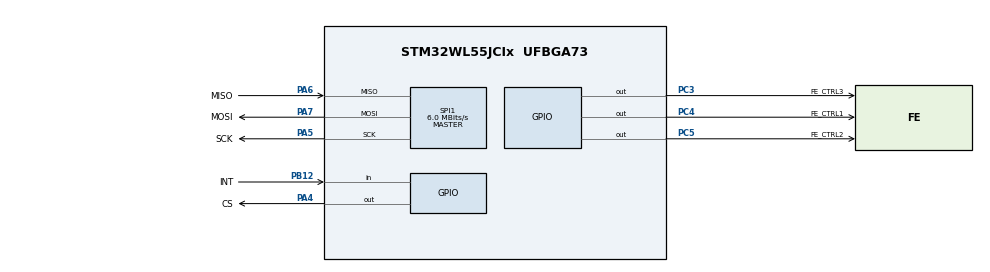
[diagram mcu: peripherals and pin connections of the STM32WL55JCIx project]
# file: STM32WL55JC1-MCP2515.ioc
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CortexM0Plus.IPs=RCC,SYS_M0PLUS\:I,DMA,NVIC2\:I,IPCC,ADV_TRACE,GPIO,GTZC_S\:I,LORAWAN,MISC,SEQUENCER_M0PLUS\:I,SIGFOX,SUBGHZ\:I,SUBGHZ_PHY,TIMER,TINY_LPM,NUCLEO-WL55JC2
CortexM4.IPs=FATFS\:I,RCC\:I,SYS\:I,DMA\:I,NVIC1\:I,USART2\:I,DEBUG\:I,IPCC\:I,ADV_TRACE\:I,FREERTOS\:I,GPIO\:I,GTZC_NS\:I,LORAWAN\:I,MISC\:I,SEQUENCER_M4\:I,SIGFOX\:I,SUBGHZ_PHY\:I,TIMER\:I,TINY_LPM\:I,NUCLEO-WL55JC2\:I,SPI1\:I
Mcu.Family=STM32WL
Mcu.Name=STM32WL55JCIx
Mcu.Package=UFBGA73
NUCLEO-WL55JC2.BUTTON=1
NUCLEO-WL55JC2.BUTTON2=1
NUCLEO-WL55JC2.BUTTON3=1
NUCLEO-WL55JC2.Bsp_Common_DEMO=true
NUCLEO-WL55JC2.LD1=true
NUCLEO-WL55JC2.LD2=true
NUCLEO-WL55JC2.LD3=true
NUCLEO-WL55JC2.VCP=true
NVIC1.EXTI0_IRQn=true\:0\:0\:false\:false\:true\:false\:true\:true
NVIC1.EXTI1_IRQn=true\:0\:0\:false\:false\:true\:false\:true\:true
NVIC1.PriorityGroup=NVIC_PRIORITYGROUP_4
NVIC1.SPI1_IRQn=true\:0\:0\:false\:false\:true\:true\:true\:true
OSC_IN.Mode=HSE-External-Oscillator
OSC_IN.Signal=RCC_OSC_IN
OSC_OUT.Mode=HSE-External-Oscillator
OSC_OUT.Signal=RCC_OSC_OUT
PA4.GPIO_Label=CS
PA4.GPIO_Speed=GPIO_SPEED_FREQ_HIGH
PA4.PinState=GPIO_PIN_SET
PA4.Signal=GPIO_Output
PA5.GPIO_Label=SCK
PA5.GPIO_PuPd=GPIO_NOPULL
PA5.GPIO_Speed=GPIO_SPEED_FREQ_MEDIUM
PA5.Mode=Full_Duplex_Master
PA5.Signal=SPI1_SCK
PA6.GPIO_Label=MISO
PA6.GPIO_Speed=GPIO_SPEED_FREQ_MEDIUM
PA6.Mode=Full_Duplex_Master
PA6.Signal=SPI1_MISO
PA7.GPIO_Label=MOSI
PA7.GPIO_Speed=GPIO_SPEED_FREQ_MEDIUM
PA7.Mode=Full_Duplex_Master
PA7.Signal=SPI1_MOSI
PB12.GPIO_Label=INT
PB12.GPIO_PuPd=GPIO_PULLDOWN
PB12.Signal=GPIO_Input
PC14-OSC32_IN.GPIO_Label=RCC_OSC32_IN
PC14-OSC32_IN.Signal=RCC_OSC32_IN
PC15-OSC32_OUT.GPIO_Label=RCC_OSC32_OUT
PC15-OSC32_OUT.Signal=RCC_OSC32_OUT
PC3.GPIO_Label=FE_CTRL3
PC3.GPIO_Speed=GPIO_SPEED_FREQ_VERY_HIGH
PC3.Signal=GPIO_Output
PC4.GPIO_Label=FE_CTRL1
PC4.GPIO_Speed=GPIO_SPEED_FREQ_VERY_HIGH
PC4.Signal=GPIO_Output
PC5.GPIO_Label=FE_CTRL2
PC5.GPIO_Speed=GPIO_SPEED_FREQ_VERY_HIGH
PC5.Signal=GPIO_Output
ProjectManager.HeapSize=M4-0x200,M0P-0x200
ProjectManager.StackSize=M4-0x400,M0P-0x400
ProjectManager.TargetToolchain=STM32CubeIDE
RCC.AHBFreq_Value=48000000
RCC.APB1CLKDivider=RCC_HCLK_DIV2
RCC.APB1Freq_Value=24000000
RCC.APB1TimFreq_Value=48000000
RCC.APB2Freq_Value=48000000
RCC.APB2TimFreq_Value=48000000
RCC.APB3Freq_Value=48000000
RCC.CortexFreq_Value=48000000
RCC.HCLKFreq_Value=48000000
RCC.HSE_VALUE=32000000
RCC.HSI_VALUE=16000000
RCC.LSE_VALUE=32768
RCC.MSIClockRange=RCC_MSIRANGE_11
RCC.PLLR=RCC_PLLR_DIV8
RCC.PLLSourceVirtual=RCC_PLLSOURCE_HSI
RCC.SYSCLKFreq_VALUE=48000000
RCC.VCOOutputFreq_Value=128000000
SPI1.BaudRatePrescaler=SPI_BAUDRATEPRESCALER_8
SPI1.CLKPolarity=SPI_POLARITY_LOW
SPI1.CalculateBaudRate=6.0 MBits/s
SPI1.DataSize=SPI_DATASIZE_8BIT
SPI1.Direction=SPI_DIRECTION_2LINES
SPI1.Mode=SPI_MODE_MASTER
SPI1.VirtualType=VM_MASTER
SYS.userName=SYS_M4
SYS_M0PLUS.userName=SYS_M0+
VP_NUCLEO-WL55JC2_VS_BSP_COMMON.Mode=COMMON
VP_SYS_M0PLUS_VS_Systick.Mode=SysTick
board=NUCLEO-WL55JC2

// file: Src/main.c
/* USER CODE BEGIN Header */
/**
 ******************************************************************************
 * @file           : main.c
 * @brief          : Main program body
 ******************************************************************************
 * @attention
 *
 * Copyright (c) 2024 STMicroelectronics.
 * All rights reserved.
 *
 * This software is licensed under terms that can be found in the LICENSE file
 * in the root directory of this software component.
 * If no LICENSE file comes with this software, it is provided AS-IS.
 *
 ******************************************************************************
 */
/* USER CODE END Header */
#include "main.h"

/* USER CODE BEGIN Includes */
#include "CAN_SPI.h"
#include "MCP2515.h"

#include <stdio.h>
#include <string.h>

#include "stm32wlxx_hal.h"
/* USER CODE END Includes */

/* USER CODE BEGIN PTD */
#define TIMEOUT_MS 1000  // Timeout untuk komunikasi SPI (dalam ms)

static uint32_t lastStateChangeTime = 0;
static const uint32_t debounceDelay = 200;

static uint32_t lastWakeTime = 0;

// Declare your global or external variables appropriately
static uint32_t prevTX = 0;  // Variable to store the last transmit time
static uint32_t invlTX = 1000; // Example: 1 second interval
#define MAX_DATA_SETS 4
/* USER CODE END PTD */

/* USER CODE BEGIN PD */

/* Define Car states */
typedef enum {
	CAR_OFF, CAR_ACC_ON, CAR_ENGINE_ON
} CarState;

static CarState currentState = CAR_OFF;

/* Define PID codes */
#define PID_ENGINE_LOAD 0x04
#define PID_ENGINE_COOLANT_TEMPERATURE 0x05
#define PID_SHORT_TERM_FUEL_TRIM 0x06
#define PID_MANIFOLD_ABSOLUTE_PRESSURE 0x0B
#define PID_ENGINE_SPEED 0x0C
#define PID_VEHICLE_SPEED 0x0D
#define PID_INTAKE_AIR_TEMPERATURE 0x0F
#define PID_THROTTLE_POSITION 0x11
#define PID_O2_SENSOR_2 0x15
#define PID_RUN_TIME 0x1F
#define PID_CONTROL_MODULE_VOLTAGE 0x42

#define RES_ID 0x98DA01F1
#define REQ_ID 0x98DB33F1
/* Global variables for PID */
static int manifold_absolute_pressure;
static int engine_speed;
static int vehicle_speed;
static int intake_air_temperature;
static int control_module_voltage;

/* OBD2 data sets request */
static const uint8_t dataSets[][8] = {
		{ 0x02, 0x01, 0x42, 0xAA, 0xAA, 0xAA, 0xAA, 0xAA },  // Control Module Voltage
		{ 0x02, 0x01, 0x0B, 0xAA, 0xAA, 0xAA, 0xAA, 0xAA }, // Manifold Absolute Pressure
		{ 0x02, 0x01, 0x0C, 0xAA, 0xAA, 0xAA, 0xAA, 0xAA },  // Engine Speed
		{ 0x02, 0x01, 0x0D, 0xAA, 0xAA, 0xAA, 0xAA, 0xAA },  // Vehicle Speed
		{ 0x02, 0x01, 0x0F, 0xAA, 0xAA, 0xAA, 0xAA, 0xAA }, // Intake Air Temperature
//		{ 0x02, 0x01, 0x42, 0x00, 0x12, 0xAA, 0xAA, 0xAA },  // Control Module Voltage
		};

static bool responseReceived[MAX_DATA_SETS] = { false };
/* USER CODE END PD */

COM_InitTypeDef BspCOMInit;
static uint32_t delay = 250;
SPI_HandleTypeDef hspi1;

uCAN_MSG txMessage;
uCAN_MSG rxMessage;

void SystemClock_Config(void);
static void MX_GPIO_Init(void);
static void MX_SPI1_Init(void);

void updateCarState(void);
void handleCarState(void);
void sendOBDRequests(void);
void decodePID(uint8_t pid, uint8_t a, uint8_t b, uint8_t c, uint8_t d,
		uint8_t e);
void enterSleepMode(void);
void logPID(void);

int main(void) {

	/* MCU Configuration--------------------------------------------------------*/

	/* Reset of all peripherals, Initializes the Flash interface and the Systick. */
	HAL_Init();

	/* Configure the system clock */
	SystemClock_Config();

	/* Initialize all configured peripherals */
	MX_GPIO_Init();
	MX_SPI1_Init();

	/* Initialize leds */
	BSP_LED_Init(LED_BLUE);
	BSP_LED_Init(LED_GREEN);
	BSP_LED_Init(LED_RED);

	/* Initialize USER push-button, will be used to trigger an interrupt each time it's pressed.*/
	BSP_PB_Init(BUTTON_SW1, BUTTON_MODE_EXTI);
	BSP_PB_Init(BUTTON_SW2, BUTTON_MODE_EXTI);
	BSP_PB_Init(BUTTON_SW3, BUTTON_MODE_EXTI);

	/* Initialize COM1 port (115200, 8 bits (7-bit data + 1 stop bit), no parity */
	BspCOMInit.BaudRate = 115200;
	BspCOMInit.WordLength = COM_WORDLENGTH_8B;
	BspCOMInit.StopBits = COM_STOPBITS_1;
	BspCOMInit.Parity = COM_PARITY_NONE;
	BspCOMInit.HwFlowCtl = COM_HWCONTROL_NONE;
	if (BSP_COM_Init(COM1, &BspCOMInit) != BSP_ERROR_NONE) {
		Error_Handler();
	}

	/* USER CODE BEGIN BSP */

	/* -- Sample board code to send message over COM1 port ---- */
	printf("\n\r");
	printf("STM32 x MCP2515 : OBD2 Scanner\n\r");

	/* -- Sample board code to switch on leds ---- */
	BSP_LED_On(LED_BLUE);
	BSP_LED_On(LED_GREEN);
	BSP_LED_On(LED_RED);

	/* USER CODE END BSP */

	/* Boot CPU2 */
	HAL_PWREx_ReleaseCore(PWR_CORE_CPU2);

	/* MCP2515 & SPI Initialization */
	int ret;
	ret = CANSPI_Initialize();
	if (ret < 0) {
		printf("Initialize CAN SPI Failed... Code: (%d)\n\r", ret);
		Error_Handler();
	} else {
		printf("MCP2515 initialized successfully!\n\r");
	}

	/* Set MCP2515 to Normal mode */
	if (!MCP2515_SetNormalMode()) {
		printf("Failed to set Normal mode!\n\r");
	} else {
		printf("MCP2515 set to Normal mode.\n\r");
	}

//	/* Set MCP2515 to Loopback mode */
//	if (!MCP2515_SetLoopbackMode()) {
//		printf("Failed to set Loopback mode!\n\r");
//	} else {
//		printf("MCP2515 set to Loopback mode.\n\r");
//	}

	/* Set initial LED states to Off */
	BSP_LED_Off(LED_BLUE);  // Will use for CAN activity
	BSP_LED_Off(LED_GREEN); // Will use for successful communication
	BSP_LED_On(LED_RED);    // Will use for errors/no communication

	/* Print CSV header for logging */
	printf("#,timestamp,carstate,MAP,RPM,VSS,IAT,CMV\n\r");

	/* Infinite loop */
	/* USER CODE BEGIN WHILE */
	while (1) {

		  // Update car state
		  updateCarState();

		  // Handle current state
		  handleCarState();

//		// Transmit the message sequentially
//		for (int i = 0; i < sizeof(dataSets) / sizeof(dataSets[0]); i++) {
//			// Create CAN message for the current dataset
//			txMessage.frame.id = REQ_ID;
//			txMessage.frame.dlc = 8;
//			memcpy(&txMessage.frame.data0, dataSets[i], 8);
//
//			// Send the message
//			if (CANSPI_Transmit(&txMessage)) {
//				printf("\n\rSent OBD request for PID: 0x%02X\n\r",
//						dataSets[i][2]);
//
//				// Wait for a response
//				uint32_t startTime = HAL_GetTick();
//
//				while (HAL_GetTick() - startTime < TIMEOUT_MS) { // Timeout set to 1000 ms
//					// Check if a message is received
//					if (CANSPI_Receive(&rxMessage)) {
//
//						decodePID(rxMessage.frame.data2, rxMessage.frame.data3,
//								rxMessage.frame.data4, rxMessage.frame.data5,
//								rxMessage.frame.data6, rxMessage.frame.data7);
//
////						if (rxMessage.frame.id == REQ_ID) {
////							printf(
////									"Received Message: Data = {0x%02X, 0x%02X, 0x%02X, 0x%02X, 0x%02X, 0x%02X, 0x%02X, 0x%02X}\n\r",
////									rxMessage.frame.data0,
////									rxMessage.frame.data1,
////									rxMessage.frame.data2,
////									rxMessage.frame.data3,
////									rxMessage.frame.data4,
////									rxMessage.frame.data5,
////									rxMessage.frame.data6,
////									rxMessage.frame.data7);
////							responseReceived = true;
////							break;  // Exit loop once response is received
////						}
//					}
//				}
//			} else {
//				printf("Failed to send request for PID: 0x%02X\n\r",
//						dataSets[i][2]);
//			}
//
//			// Small delay between requests
//			HAL_Delay(50);
//		}

		/* -- Sample board code for User push-button in interrupt mode ---- */
//    BSP_LED_Toggle(LED_BLUE);
//    HAL_Delay(delay);
//
//    BSP_LED_Toggle(LED_GREEN);
//    HAL_Delay(delay);
//
//    BSP_LED_Toggle(LED_RED);
//    HAL_Delay(delay);
//
	}

	/* USER CODE END WHILE */
	/* USER CODE END 3 */
}

// Implementation of car state update
void updateCarState(void) {
	static bool firstRun = true;
	uint32_t currentMillis = HAL_GetTick();
	CarState newState = currentState;

	if (firstRun) {
		sendOBDRequests();  // Call function to send OBD requests, fist PID: 0x42 (Control Module Voltage)
		firstRun = false;
	}

	// Update the new state based on control module voltage
	if (control_module_voltage > 13) {  // 13.5 - 14.7
		newState = CAR_ENGINE_ON;
	} else if (control_module_voltage > 12) {  // 12.0 - 12.6
		newState = CAR_ACC_ON;
	} else {
		newState = CAR_OFF;
	}

	// Debouncing
	if (newState != currentState
			&& (currentMillis - lastStateChangeTime > debounceDelay)) {
		currentState = newState;
		lastStateChangeTime = currentMillis;

		printf("Car state changed to: %d\n", currentState);

		// Check if the car state = off, enter sleep mode
		if (currentState == CAR_OFF) {
			enterSleepMode();
		}
	}
}

// Implementation of Handle Car State
void handleCarState(void) {
    uint32_t currentTime = HAL_GetTick();

    switch (currentState) {
    case CAR_OFF:
        if (currentTime - lastWakeTime > 10000) { // 10 seconds
            printf("CAR OFF\n\r");
            enterSleepMode();
        }
        break;

    case CAR_ACC_ON:
    case CAR_ENGINE_ON:
        if (currentTime - prevTX >= invlTX) {
            printf("CAR ON\n\r");
            sendOBDRequests();
            prevTX = currentTime;
        }
        break;
    }

    if (currentTime < lastWakeTime) {
        lastWakeTime = currentTime;
    }
}

// Implementation of OBD requests sender
void sendOBDRequests(void) {
	bool receivedResponse = false;

	for (int i = 0; i < sizeof(dataSets) / sizeof(dataSets[0]); i++) {
		// Create CAN message (ID, DLC, Data Message)
		uCAN_MSG txMessage;
		txMessage.frame.id = REQ_ID;
		txMessage.frame.dlc = 8;
		memcpy(&txMessage.frame.data0, dataSets[i], 8);

		// Send the CAN message
		if (CANSPI_Transmit(&txMessage)) {
			printf("\n\rSent OBD request for PID: 0x%02X\n\r", dataSets[i][2]);

			// Wait for a response
			uint32_t startTime = HAL_GetTick();
			while (HAL_GetTick() - startTime < TIMEOUT_MS) {
				// Check if a message is received
				if (CANSPI_Receive(&rxMessage)) {
					// Print received message
//					printf("Received Message: Data = {0x%02X, 0x%02X, 0x%02X, 0x%02X, 0x%02X, 0x%02X, 0x%02X, 0x%02X}\n\r",
//							rxMessage.frame.data0, rxMessage.frame.data1,
//							rxMessage.frame.data2, rxMessage.frame.data3,
//							rxMessage.frame.data4, rxMessage.frame.data5,
//							rxMessage.frame.data6, rxMessage.frame.data7);
					//Decode PID
					decodePID(rxMessage.frame.data2, rxMessage.frame.data3,
							rxMessage.frame.data4, rxMessage.frame.data5,
							rxMessage.frame.data6, rxMessage.frame.data7);
					responseReceived[i] = true; // Mark response as received
					receivedResponse = true;
					break;
				}
			}
		} else {
			printf("Failed to send request for PID: 0x%02X\n\r", dataSets[i][2]);
		}

		if (!receivedResponse) {
			printf("No OBD2 response received, assuming car is off.\n");
			currentState = CAR_OFF;
			break;
		}

		// Small delay between requests
		HAL_Delay(50);
	}

	prevTX = HAL_GetTick();  // Update previous transmit time

	// Check all data received before logging
	if (receivedResponse) {
		bool allResponsesReceived = true;
		for (int i = 0; i < sizeof(dataSets) / sizeof(dataSets[0]); i++) {
			if (!responseReceived[i]) {
				allResponsesReceived = false;
				break;
			}
		}

		// All responses received = logging
		if (allResponsesReceived) {
			logPID();
			// Reset array
			memset(responseReceived, 0, sizeof(responseReceived));
		}
	}
}

// Implementation of Sleep Mode
void enterSleepMode(void) {
    printf("Entering sleep mode...\n\r");

    // MCP2515 entering sleep mode
    if (!MCP2515_SetSleepMode()) {
        printf("Failed to set Sleep mode!\n\r");
    } else {
        printf("MCP2515 set to Sleep mode.\n\r");
    }

    printf("Exiting sleep mode...\n\r");
    lastWakeTime = HAL_GetTick();
}

// Implementation of logging function
void logPID(void) {
	static int count = 1;
	printf("%d,%lu,%d,%d,%d,%d,%d,%d\n\r", count++, HAL_GetTick(), currentState,
			manifold_absolute_pressure, engine_speed, vehicle_speed,
			intake_air_temperature, control_module_voltage);
}

// Implementation of decoding PID
void decodePID(uint8_t pid, uint8_t a, uint8_t b, uint8_t c, uint8_t d,
		uint8_t e) {
	printf(
			"Received PID: 0x%02X, A: 0x%02X, B: 0x%02X, C: 0x%02X, D: 0x%02X, E: 0x%02X\n", pid, a, b, c, d, e);

	switch (pid) {
	case PID_MANIFOLD_ABSOLUTE_PRESSURE:
		manifold_absolute_pressure = a;
		printf("MAP: %d\n", manifold_absolute_pressure);
		break;
	case PID_ENGINE_SPEED:
		engine_speed = ((a * 256 + b) / 4);
		printf("Engine Speed: %d RPM\n", engine_speed);
		break;
	case PID_VEHICLE_SPEED:
		vehicle_speed = a;
		printf("Vehicle Speed: %d km/h\n", vehicle_speed);
		break;
	case PID_INTAKE_AIR_TEMPERATURE:
		intake_air_temperature = (a - 40);
		printf("Intake Air Temperature: %d °C\n", intake_air_temperature);
		break;
	case PID_CONTROL_MODULE_VOLTAGE:
		control_module_voltage = (((256 * a) + b) / 1000.0); //
		printf("Control Module Voltage: %.d V\n", control_module_voltage);
		break;
	default:
		break;
	}
}

void SystemClock_Config(void) {
	RCC_OscInitTypeDef RCC_OscInitStruct = { 0 };
	RCC_ClkInitTypeDef RCC_ClkInitStruct = { 0 };

	/** Configure the main internal regulator output voltage
	 */
	__HAL_PWR_VOLTAGESCALING_CONFIG(PWR_REGULATOR_VOLTAGE_SCALE1);

	/** Initializes the CPU, AHB and APB buses clocks
	 */
	RCC_OscInitStruct.OscillatorType = RCC_OSCILLATORTYPE_MSI;
	RCC_OscInitStruct.MSIState = RCC_MSI_ON;
	RCC_OscInitStruct.MSICalibrationValue = RCC_MSICALIBRATION_DEFAULT;
	RCC_OscInitStruct.MSIClockRange = RCC_MSIRANGE_11;
	RCC_OscInitStruct.PLL.PLLState = RCC_PLL_NONE;
	if (HAL_RCC_OscConfig(&RCC_OscInitStruct) != HAL_OK) {
		Error_Handler();
	}

	/** Configure the SYSCLKSource, HCLK, PCLK1 and PCLK2 clocks dividers
	 */
	RCC_ClkInitStruct.ClockType = RCC_CLOCKTYPE_HCLK3 | RCC_CLOCKTYPE_HCLK2
			| RCC_CLOCKTYPE_HCLK | RCC_CLOCKTYPE_SYSCLK | RCC_CLOCKTYPE_PCLK1
			| RCC_CLOCKTYPE_PCLK2;
	RCC_ClkInitStruct.SYSCLKSource = RCC_SYSCLKSOURCE_MSI;
	RCC_ClkInitStruct.AHBCLKDivider = RCC_SYSCLK_DIV1;
	RCC_ClkInitStruct.APB1CLKDivider = RCC_HCLK_DIV2;
	RCC_ClkInitStruct.APB2CLKDivider = RCC_HCLK_DIV1;
	RCC_ClkInitStruct.AHBCLK2Divider = RCC_SYSCLK_DIV1;
	RCC_ClkInitStruct.AHBCLK3Divider = RCC_SYSCLK_DIV1;

	if (HAL_RCC_ClockConfig(&RCC_ClkInitStruct, FLASH_LATENCY_2) != HAL_OK) {
		Error_Handler();
	}
}

static void MX_SPI1_Init(void) {

	/* SPI1 parameter configuration*/
	hspi1.Instance = SPI1;
	hspi1.Init.Mode = SPI_MODE_MASTER;
	hspi1.Init.Direction = SPI_DIRECTION_2LINES;
	hspi1.Init.DataSize = SPI_DATASIZE_8BIT;
	hspi1.Init.CLKPolarity = SPI_POLARITY_LOW;
	hspi1.Init.CLKPhase = SPI_PHASE_1EDGE;
	hspi1.Init.NSS = SPI_NSS_SOFT;
	hspi1.Init.BaudRatePrescaler = SPI_BAUDRATEPRESCALER_8;
	hspi1.Init.FirstBit = SPI_FIRSTBIT_MSB;
	hspi1.Init.TIMode = SPI_TIMODE_DISABLE;
	hspi1.Init.CRCCalculation = SPI_CRCCALCULATION_DISABLE;
	hspi1.Init.CRCPolynomial = 7;
	hspi1.Init.CRCLength = SPI_CRC_LENGTH_DATASIZE;
	hspi1.Init.NSSPMode = SPI_NSS_PULSE_ENABLE;
	if (HAL_SPI_Init(&hspi1) != HAL_OK) {
		Error_Handler();
	}

}

static void MX_GPIO_Init(void) {
	/* USER CODE BEGIN MX_GPIO_Init_1 */
	GPIO_InitTypeDef GPIO_InitStruct = { 0 };
	/* USER CODE END MX_GPIO_Init_1 */

	/* GPIO Ports Clock Enable */
	__HAL_RCC_GPIOC_CLK_ENABLE();
	__HAL_RCC_GPIOA_CLK_ENABLE();

// Configure PA4 as GPIO output for CAN CS
	GPIO_InitStruct.Pin = GPIO_PIN_4;    // Specify PA4
	GPIO_InitStruct.Mode = GPIO_MODE_OUTPUT_PP;  // Push-pull output
	GPIO_InitStruct.Pull = GPIO_NOPULL;  // No pull-up or pull-down resistor
	GPIO_InitStruct.Speed = GPIO_SPEED_FREQ_LOW; // Low frequency, suitable for CS
	HAL_GPIO_Init(GPIOA, &GPIO_InitStruct);

	/* USER CODE BEGIN MX_GPIO_Init_2 */
//  /* Configure CS pin (GPIOB, Pin 0) */
//  GPIO_InitStruct.Pin = GPIO_PIN_0;
//  GPIO_InitStruct.Mode = GPIO_MODE_OUTPUT_PP;
//  GPIO_InitStruct.Pull = GPIO_NOPULL;
//  GPIO_InitStruct.Speed = GPIO_SPEED_FREQ_LOW;
//  HAL_GPIO_Init(GPIOB, &GPIO_InitStruct);
	/* USER CODE END MX_GPIO_Init_2 */
}

/**
 * @brief BSP Push Button callback
 * @param Button Specifies the pressed button
 * @retval None
 */
void BSP_PB_Callback(Button_TypeDef Button) {
	switch (Button) {
	case BUTTON_SW1:
		/* Change the period to 100 ms */
		delay = 100;
		break;
	case BUTTON_SW2:
		/* Change the period to 500 ms */
		delay = 500;
		break;
	case BUTTON_SW3:
		/* Change the period to 1000 ms */
		delay = 1000;
		break;
	default:
		break;
	}
}

void Error_Handler(void) {
	__disable_irq();
	while (1) {
	}
}
